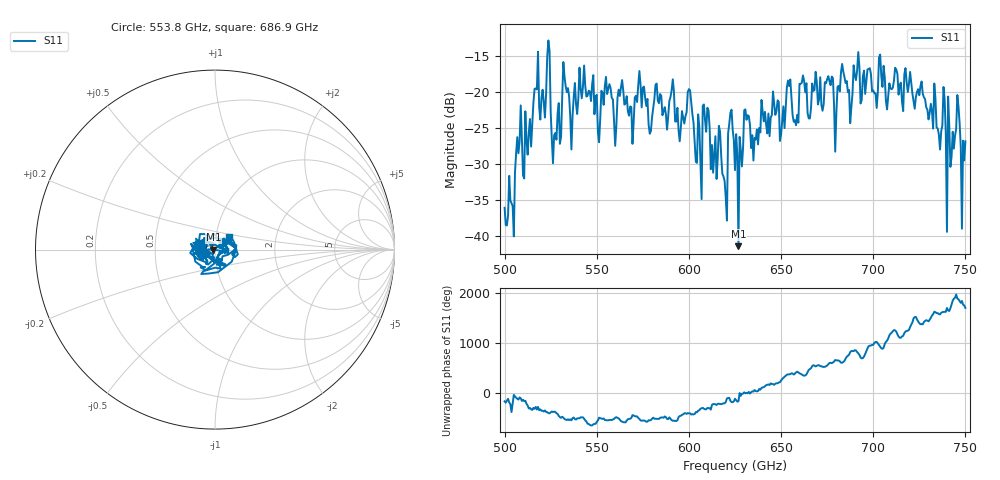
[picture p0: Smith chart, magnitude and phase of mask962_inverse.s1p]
!Created with skrf (http://scikit-rf.org).
# GHz S MA R 50.0
!freq magS11 angS11
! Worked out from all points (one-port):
!   401 points, 500 GHz to 750 GHz, reference 50 ohm
!   lowest |S11| = -41.3 dB at 626.9 GHz (marker M1), VSWR 1.02, Z = 49.2 - j0.0573 ohm
!   |S11| at or under -10 dB: start of sweep to end of sweep
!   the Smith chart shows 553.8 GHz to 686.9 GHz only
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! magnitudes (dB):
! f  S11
! 500 GHz  -36.0
! 516.9 GHz  -19.5
! 520.6 GHz  -19.7
! 523.8 GHz  -12.9
! 526.9 GHz  -26.0
! 531.2 GHz  -20.7
! 562.5 GHz  -20.6
! 579.4 GHz  -25.4
! 590.6 GHz  -19.8
! 593.8 GHz  -22.2
! 600.6 GHz  -19.8
! 605.6 GHz  -24.7
! 609.4 GHz  -25.5
! 619.4 GHz  -32.3
! 622.5 GHz  -22.9
! 625 GHz  -30.8
! 626.9 GHz  -41.3
! 631.2 GHz  -23.9
! 635 GHz  -29.5
! 656.2 GHz  -23.2
! 683.8 GHz  -17.2
! 687.5 GHz  -24.3
! 690.6 GHz  -18.4
! 718.8 GHz  -20.0
! 738.1 GHz  -19.3
! 741.2 GHz  -24.7
! 745.6 GHz  -20.4
! 750 GHz  -26.8
